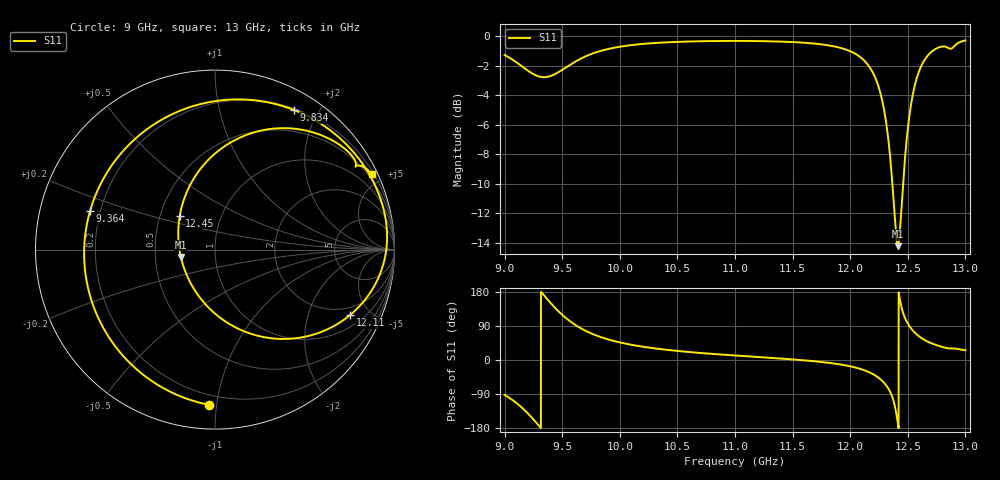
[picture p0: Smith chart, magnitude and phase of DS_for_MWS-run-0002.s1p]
! TOUCHSTONE file generated by CST DESIGN STUDIO
! Date and time: Tue Feb  4 13:02:15 2025
! Project name: C:\Work\MatlabApps\UnitCellOptimizationMatlab\CST\unitcell.cst
! Tree item: Tasks\Sweep1\SPara1\S-Parameters
! Header version: 2024
! Port assignment regex: !\s*Touchstone port\s*([0-9]+)\s*=\s*(CST MWS port|CST DES external port|CST DES block port)\s*(.+)\s* \(\"(.*)\"\)(\s*mode\s*([0-9]+))?.*
! Touchstone port assignment:
! Touchstone port 1 = CST DES external port 1 ("")
# GHz S MA R 50
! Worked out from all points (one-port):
!   4001 points, 9 GHz to 13 GHz, reference 50 ohm
!   lowest |S11| = -14.2 dB at 12.41 GHz (marker M1), VSWR 1.48, Z = 33.9 - j2.91 ohm
!   |S11| at or under -10 dB: 12.37 GHz to 12.46 GHz (92.67 MHz wide, 0.747 % of centre)
!   S11 on the Smith chart (normalised r, x): 9 GHz: 0.14, -0.95; 9.364 GHz: 0.16, +0.15; 9.834 GHz: 0.22, +1.69; 12.11 GHz: 1.56, -3.77; 12.45 GHz: 0.63, +0.26; 13 GHz: 0.31, +4.37
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9  0.8655 -92.2
9.087  0.8252 -109.8
9.168  0.7829 -130.8
9.272  0.7381 -164.4
9.364  0.7287 162.7
9.435  0.7448 138.6
9.5  0.7709 119.2
9.637  0.8316 88.0
9.834  0.8935 60.5
10  0.9232 46.4
10.216  0.9448 34.3
10.5  0.9588 23.9
11  0.9659 11.9
11.5  0.9573 1.6
12  0.8913 -16.7
12.11  0.837 -25.7
12.212  0.7328 -39.8
12.301  0.5439 -62.6
12.357  0.3513 -91.0
12.395  0.2196 -132.6
12.414  0.1946 -167.8
12.448  0.2727 136.0
12.5  0.487 96.1
12.538  0.6195 79.8
12.58  0.7274 66.8
12.705  0.8868 44.1
12.804  0.925 34.0
13  0.9694 25.7
